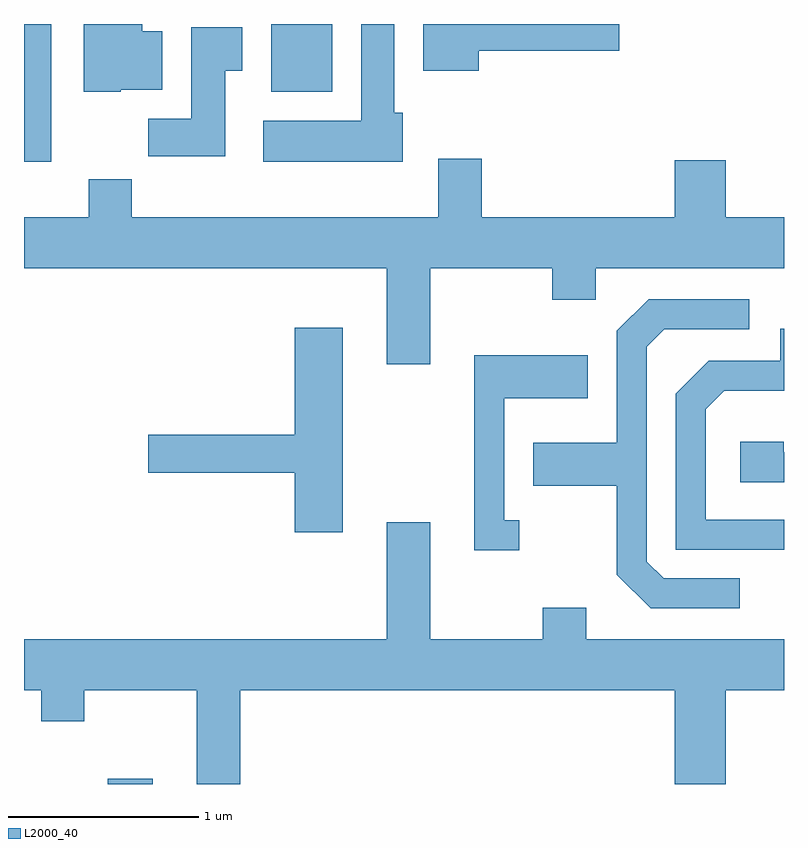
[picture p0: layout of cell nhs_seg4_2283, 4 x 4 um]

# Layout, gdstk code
import gdstk
lib = gdstk.Library(unit=1e-6, precision=1e-09)
def R(c, l, rs):  # rectangles x0, y0, x1, y1
    for r in rs: c.add(gdstk.rectangle(r[:2], r[2:], *l))
def P(c, l, *ps):  # polygons
    for p in ps: c.add(gdstk.Polygon(p, *l))
L2000_40 = (2000, 40)

nhs_seg4_2283 = lib.new_cell('nhs_seg4_2283')
R(nhs_seg4_2283, L2000_40, [(252.053,1331.982,252.289,1332.009), (251.611,1335.256,251.754,1335.982), (252.911,1335.626,253.234,1335.982)])
P(nhs_seg4_2283, L2000_40, [(252.12,1335.636),(252.339,1335.636),(252.339,1335.944),(252.234,1335.944),(252.234,1335.982),(251.926,1335.982),(251.926,1335.626),(252.12,1335.626)],
  [(253.604,1335.514),(253.559,1335.514),(253.559,1335.982),(253.386,1335.982),(253.386,1335.474),(252.871,1335.474),(252.871,1335.256),(253.604,1335.256)],
  [(254.004,1335.841),(254.744,1335.841),(254.744,1335.982),(253.711,1335.982),(253.711,1335.736),(254.004,1335.736)],
  [(252.669,1335.736),(252.759,1335.736),(252.759,1335.964),(252.491,1335.964),(252.491,1335.484),(252.266,1335.484),(252.266,1335.286),(252.669,1335.286)],
  [(252.179,1335.164),(251.951,1335.164),(251.951,1334.964),(251.611,1334.964),(251.611,1334.696),(253.521,1334.696),(253.521,1334.191),(253.749,1334.191),(253.749,1334.696),(254.391,1334.696),(254.391,1334.531),(254.619,1334.531),(254.619,1334.696),(255.611,1334.696),(255.611,1334.964),(255.304,1334.964),(255.304,1335.264),(255.036,1335.264),(255.036,1334.964),(254.019,1334.964),(254.019,1335.274),(253.791,1335.274),(253.791,1334.964),(252.179,1334.964)],
  [(255.378,1333.064),(254.977,1333.064),(254.889,1333.152),(254.889,1334.284),(254.982,1334.376),(255.428,1334.376),(255.428,1334.534),(254.899,1334.534),(254.731,1334.367),(254.731,1333.779),(254.291,1333.779),(254.291,1333.551),(254.731,1333.551),(254.731,1333.084),(254.909,1332.906),(255.378,1332.906)],
  [(253.289,1334.384),(253.036,1334.384),(253.036,1333.819),(252.266,1333.819),(252.266,1333.621),(253.036,1333.621),(253.036,1333.306),(253.289,1333.306)],
  [(255.611,1333.374),(255.199,1333.374),(255.199,1333.954),(255.297,1334.051),(255.611,1334.051),(255.611,1334.379),(255.591,1334.379),(255.591,1334.209),(255.214,1334.209),(255.041,1334.037),(255.041,1333.216),(255.611,1333.216)],
  [(254.218,1333.369),(254.139,1333.369),(254.139,1334.011),(254.579,1334.011),(254.579,1334.239),(253.981,1334.239),(253.981,1333.211),(254.218,1333.211)],
  [(255.611,1333.729),(255.609,1333.729),(255.609,1333.784),(255.381,1333.784),(255.381,1333.571),(255.611,1333.571)],
  [(252.749,1332.476),(255.036,1332.476),(255.036,1331.982),(255.304,1331.982),(255.304,1332.476),(255.611,1332.476),(255.611,1332.744),(254.569,1332.744),(254.569,1332.909),(254.341,1332.909),(254.341,1332.744),(253.749,1332.744),(253.749,1333.359),(253.521,1333.359),(253.521,1332.744),(251.611,1332.744),(251.611,1332.476),(251.701,1332.476),(251.701,1332.311),(251.929,1332.311),(251.929,1332.476),(252.521,1332.476),(252.521,1331.982),(252.749,1331.982)])

lib.write_gds('nhs_seg4_2283.gds')
